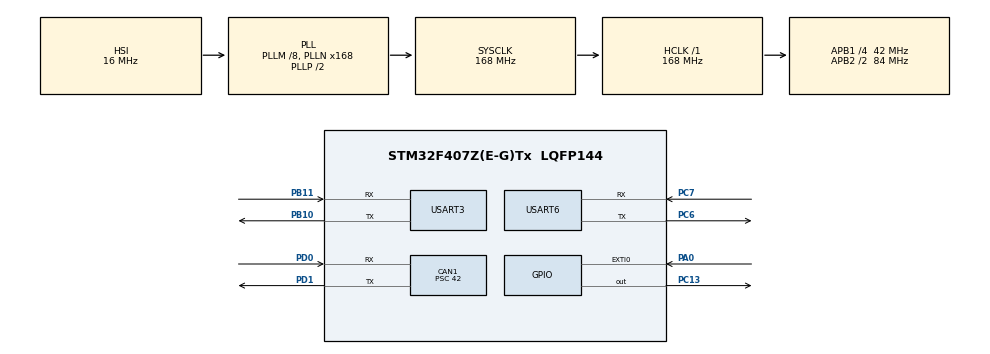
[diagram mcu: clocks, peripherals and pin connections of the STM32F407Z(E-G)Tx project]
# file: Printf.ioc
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Mcu.Family=STM32F4
PH0-OSC_IN.Signal=RCC_OSC_IN
RCC.CortexFreq_Value=168000000
PB10.Mode=Asynchronous
PC6.Signal=USART6_TX
PD1.Signal=CAN1_TX
RCC.APB1CLKDivider=RCC_HCLK_DIV4
PB11.Signal=USART3_RX
RCC.SYSCLKSource=RCC_SYSCLKSOURCE_PLLCLK
ProjectManager.StackSize=0x400
PA0-WKUP.Signal=GPXTI0
PA13.Signal=SYS_JTMS-SWDIO
CAN1.BS2=CAN_BS2_2TQ
PB11.Mode=Asynchronous
CAN1.BS1=CAN_BS1_13TQ
ProjectManager.TargetToolchain=Makefile
PC6.Mode=Asynchronous
RCC.HCLKFreq_Value=168000000
RCC.APB2TimFreq_Value=168000000
PC7.Signal=USART6_RX
PD0.Signal=CAN1_RX
RCC.LSE_VALUE=32768
RCC.AHBFreq_Value=168000000
PH0-OSC_IN.Mode=HSE-External-Oscillator
PB10.Signal=USART3_TX
RCC.HSE_VALUE=25000000
PB3.Mode=Trace_Asynchronous_SW
board=custom
PC13-ANTI_TAMP.Signal=GPIO_Output
RCC.VCOOutputFreq_Value=336000000
PD1.Mode=Master
RCC.APB2Freq_Value=84000000
PA14.Mode=Trace_Asynchronous_SW
VP_SYS_VS_tim1.Mode=TIM1
PH1-OSC_OUT.Signal=RCC_OSC_OUT
PA13.Mode=Trace_Asynchronous_SW
Mcu.Name=STM32F407Z(E-G)Tx
PD0.Mode=Master
PH1-OSC_OUT.Mode=HSE-External-Oscillator
RCC.48MHZClocksFreq_Value=84000000
PB3.Signal=SYS_JTDO-SWO
RCC.SYSCLKFreq_VALUE=168000000
CAN1.Prescaler=42
Mcu.Package=LQFP144
NVIC.TimeBase=TIM1_UP_TIM10_IRQn
USART3.VirtualMode=VM_ASYNC
USART6.VirtualMode=VM_ASYNC
NVIC.TimeBaseIP=TIM1
PA14.Signal=SYS_JTCK-SWCLK
ProjectManager.HeapSize=0x200
NVIC.TIM1_UP_TIM10_IRQn=true\:0\:0\:false\:false\:true\:false\:true
RCC.HSI_VALUE=16000000
NVIC.PriorityGroup=NVIC_PRIORITYGROUP_4
RCC.APB2CLKDivider=RCC_HCLK_DIV2
RCC.PLLM=8
RCC.PLLN=168
RCC.APB1TimFreq_Value=84000000
PC7.Mode=Asynchronous
RCC.APB1Freq_Value=42000000
NVIC.CAN1_RX0_IRQn=true\:0\:0\:false\:false\:true\:true\:true
CAN1.CalculateTimeQuantum=1000.0

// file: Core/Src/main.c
/* USER CODE BEGIN Header */
/**
  ******************************************************************************
  * @file           : main.c
  * @brief          : Main program body
  ******************************************************************************
  * @attention
  *
  * <h2><center>&copy; Copyright (c) 2020 STMicroelectronics.
  * All rights reserved.</center></h2>
  *
  *
  * This software component is licensed by ST under BSD 3-Clause license,
  * the "License"; You may not use this file except in compliance with the
  * License. You may obtain a copy of the License at:
  *                        opensource.org/licenses/BSD-3-Clause
  *
  ******************************************************************************
  */
#include <stdio.h>
/* USER CODE END Header */
#include "main.h"

/* USER CODE BEGIN Includes */
#include "retarget.h"

#include "CAN_utils.h"

/* USER CODE END Includes */

CAN_HandleTypeDef hcan1;

UART_HandleTypeDef huart3;
UART_HandleTypeDef huart6;

/* USER CODE BEGIN PV */
CAN_HandleTypeDef hcan1;

CAN_TxHeaderTypeDef txHeader; //declare a specific header for message transmittions
CAN_RxHeaderTypeDef rxHeader; //declare header for message reception
uint32_t TxMailbox, len;
//uint8_t a,r, arr[12]; //declare byte to be transmitted //declare a receive byte

circularByteBuffer_t cb_han;

CAN_FilterTypeDef sFilterConfig; //declare CAN filter structure
uint8_t arr[16];

void CAN1_RX_Config(void);
//void HAL_CAN_RxFifo0MsgPendingCallback(CAN_HandleTypeDef *hcan);
void CAN1_TX_Config(void);
void CAN1_RX_polling(void);
//int CAN1_TX(void);
/* USER CODE END PV */

void SystemClock_Config(void);
static void MX_GPIO_Init(void);
static void MX_USART3_UART_Init(void);
static void MX_USART6_UART_Init(void);
static void MX_CAN1_Init(void);

int main(void)
{
  /* USER CODE BEGIN 1 */
	int count = 0, i=0;

	circularByteBuffer_Init(&cb_han);
	//char buf[100];
  /* USER CODE END 1 */

  /* MCU Configuration--------------------------------------------------------*/

  /* Reset of all peripherals, Initializes the Flash interface and the Systick. */
  HAL_Init();

  /* Configure the system clock */
  SystemClock_Config();

  /* Initialize all configured peripherals */
  MX_GPIO_Init();
  MX_USART3_UART_Init();
  MX_USART6_UART_Init();
  MX_CAN1_Init();
  /* USER CODE BEGIN 2 */
  RetargetInit(&huart3);

  /* USER CODE END 2 */

  /* Infinite loop */
  /* USER CODE BEGIN WHILE */
  while (1)
  {
	  //printf("\n\r UART3 Printf prints to UART %d \n\r", count++);
	  HAL_Delay(500);

	  if (CAN1_TX() != HAL_OK)
	  {
		  printf("\n\r CAN1_TX() failed \n\r");
	  }
    /* USER CODE END WHILE */

    /* USER CODE BEGIN 3 */
	  printf("\n\r %d UART3 retarget printf function to the terminal\n\r", count++);
	/* Read circular buffer if it has received any frames */
	  len = cb_read_CAN_frame(arr);
	  if (len > 0)
	  {
	  /* print received data */
	  		for (i=0; i< rxHeader.DLC; i++) {
	  			printf("Data[%d]=0x%x ", i, (int)arr[i]);
	  		}

	  		printf("\n\r");
	  }
  }
  /* USER CODE END 3 */
}

void SystemClock_Config(void)
{
  RCC_OscInitTypeDef RCC_OscInitStruct = {0};
  RCC_ClkInitTypeDef RCC_ClkInitStruct = {0};

  /** Configure the main internal regulator output voltage
  */
  __HAL_RCC_PWR_CLK_ENABLE();
  __HAL_PWR_VOLTAGESCALING_CONFIG(PWR_REGULATOR_VOLTAGE_SCALE1);
  /** Initializes the RCC Oscillators according to the specified parameters
  * in the RCC_OscInitTypeDef structure.
  */
  RCC_OscInitStruct.OscillatorType = RCC_OSCILLATORTYPE_HSI;
  RCC_OscInitStruct.HSIState = RCC_HSI_ON;
  RCC_OscInitStruct.HSICalibrationValue = RCC_HSICALIBRATION_DEFAULT;
  RCC_OscInitStruct.PLL.PLLState = RCC_PLL_ON;
  RCC_OscInitStruct.PLL.PLLSource = RCC_PLLSOURCE_HSI;
  RCC_OscInitStruct.PLL.PLLM = 8;
  RCC_OscInitStruct.PLL.PLLN = 168;
  RCC_OscInitStruct.PLL.PLLP = RCC_PLLP_DIV2;
  RCC_OscInitStruct.PLL.PLLQ = 4;
  if (HAL_RCC_OscConfig(&RCC_OscInitStruct) != HAL_OK)
  {
    Error_Handler();
  }
  /** Initializes the CPU, AHB and APB buses clocks
  */
  RCC_ClkInitStruct.ClockType = RCC_CLOCKTYPE_HCLK|RCC_CLOCKTYPE_SYSCLK
                              |RCC_CLOCKTYPE_PCLK1|RCC_CLOCKTYPE_PCLK2;
  RCC_ClkInitStruct.SYSCLKSource = RCC_SYSCLKSOURCE_PLLCLK;
  RCC_ClkInitStruct.AHBCLKDivider = RCC_SYSCLK_DIV1;
  RCC_ClkInitStruct.APB1CLKDivider = RCC_HCLK_DIV4;
  RCC_ClkInitStruct.APB2CLKDivider = RCC_HCLK_DIV2;

  if (HAL_RCC_ClockConfig(&RCC_ClkInitStruct, FLASH_LATENCY_5) != HAL_OK)
  {
    Error_Handler();
  }
}

static void MX_CAN1_Init(void)
{

  hcan1.Instance = CAN1;
  hcan1.Init.Prescaler = 12;
  hcan1.Init.Mode = CAN_MODE_NORMAL;
  hcan1.Init.SyncJumpWidth = CAN_SJW_1TQ;
  hcan1.Init.TimeSeg1 = CAN_BS1_11TQ;
  hcan1.Init.TimeSeg2 = CAN_BS2_2TQ;
  hcan1.Init.TimeTriggeredMode = DISABLE;
  hcan1.Init.AutoBusOff = DISABLE;
  hcan1.Init.AutoWakeUp = DISABLE;
  hcan1.Init.AutoRetransmission = DISABLE;
  hcan1.Init.ReceiveFifoLocked = DISABLE;
  hcan1.Init.TransmitFifoPriority = DISABLE;
  if (HAL_CAN_Init(&hcan1) != HAL_OK)
  {
    Error_Handler();
  }
  /* USER CODE BEGIN CAN1_Init 2 */
  CAN1_TX_Config();
  CAN1_RX_Config();

  /* USER CODE END CAN1_Init 2 */

}

static void MX_USART3_UART_Init(void)
{

  huart3.Instance = USART3;
  huart3.Init.BaudRate = 115200;
  huart3.Init.WordLength = UART_WORDLENGTH_8B;
  huart3.Init.StopBits = UART_STOPBITS_1;
  huart3.Init.Parity = UART_PARITY_NONE;
  huart3.Init.Mode = UART_MODE_TX_RX;
  huart3.Init.HwFlowCtl = UART_HWCONTROL_NONE;
  huart3.Init.OverSampling = UART_OVERSAMPLING_16;
  if (HAL_UART_Init(&huart3) != HAL_OK)
  {
    Error_Handler();
  }
  /* USER CODE BEGIN USART3_Init 2 */
  //printf("\n\r UART3 Printf Example: retarget the C library printf function to the UART\n\r");
  /* USER CODE END USART3_Init 2 */

}

static void MX_USART6_UART_Init(void)
{

  huart6.Instance = USART6;
  huart6.Init.BaudRate = 115200;
  huart6.Init.WordLength = UART_WORDLENGTH_8B;
  huart6.Init.StopBits = UART_STOPBITS_1;
  huart6.Init.Parity = UART_PARITY_NONE;
  huart6.Init.Mode = UART_MODE_TX_RX;
  huart6.Init.HwFlowCtl = UART_HWCONTROL_NONE;
  huart6.Init.OverSampling = UART_OVERSAMPLING_16;
  if (HAL_UART_Init(&huart6) != HAL_OK)
  {
    Error_Handler();
  }

}

static void MX_GPIO_Init(void)
{
  GPIO_InitTypeDef GPIO_InitStruct = {0};

  /* GPIO Ports Clock Enable */
  __HAL_RCC_GPIOC_CLK_ENABLE();
  __HAL_RCC_GPIOH_CLK_ENABLE();
  __HAL_RCC_GPIOA_CLK_ENABLE();
  __HAL_RCC_GPIOB_CLK_ENABLE();
  __HAL_RCC_GPIOD_CLK_ENABLE();

  /*Configure GPIO pin Output Level */
  HAL_GPIO_WritePin(GPIOC, GPIO_PIN_13, GPIO_PIN_RESET);

  /*Configure GPIO pin : PC13 */
  GPIO_InitStruct.Pin = GPIO_PIN_13;
  GPIO_InitStruct.Mode = GPIO_MODE_OUTPUT_PP;
  GPIO_InitStruct.Pull = GPIO_NOPULL;
  GPIO_InitStruct.Speed = GPIO_SPEED_FREQ_LOW;
  HAL_GPIO_Init(GPIOC, &GPIO_InitStruct);

  /*Configure GPIO pin : PA0 */
  GPIO_InitStruct.Pin = GPIO_PIN_0;
  GPIO_InitStruct.Mode = GPIO_MODE_IT_RISING;
  GPIO_InitStruct.Pull = GPIO_NOPULL;
  HAL_GPIO_Init(GPIOA, &GPIO_InitStruct);

}

/* USER CODE BEGIN 4 */

void CAN1_TX_Config(void)
{
	txHeader.DLC=8;  			// give message size of 8 byte FOR NOW
	txHeader.IDE=CAN_ID_STD; 	//set identifier to standard
	txHeader.RTR=CAN_RTR_DATA; 	//set data type to remote transmission request?
	txHeader.StdId=0x123; 		//define a standard identifier, used for message identification by filters (switch this for the other microcontroller)

	txHeader.ExtId = 0x00;
	txHeader.TransmitGlobalTime = DISABLE;
	printf("\n\rCAN1_TX_Config() Passed \n\r");

}

void CAN1_RX_polling(void)
{
	uint8_t rxData[8];
	int len,i;

//	while (HAL_CAN_GetRxFifoFillLevel(&hcan1,CAN_RX_FIFO0) != HAL_OK);
//	printf("HAL_CAN_GetRxFifoFillLevel() Passed \n");

	if (HAL_CAN_GetRxMessage(&hcan1,CAN_RX_FIFO0, &rxHeader, rxData) != HAL_OK) {
		printf("\n\rHAL_CAN_GetRxMessage() Failed \n\r");
			Error_Handler();

	}

	 printf("\n\rHAL_CAN_GetRxMessage() Passed %s\n\r", rxData);

	if (rxHeader.IDE == CAN_ID_STD)
	{
		len = (int)(rxHeader.DLC);
		printf("\n\rID = %d RdDataLength %d \n\r", (int)rxHeader.StdId, len);

		/* Store in the circular buffer */
		for (i=0; i< rxHeader.DLC; i++) {
			printf("Data[%d]=0x%x ", i, (int)rxData[i]);
		}

		printf("\n\r");
	}

}

void CAN1_RX_Config(void)
{
		//filter one (stack light blink)
	sFilterConfig.FilterBank = 0;
	sFilterConfig.FilterFIFOAssignment=CAN_FILTER_FIFO0; //set fifo assignment
	sFilterConfig.FilterIdHigh=0x0;      //245<<5; //the ID that the filter looks for (switch this for the other microcontroller)
	sFilterConfig.FilterIdLow=0x0;
	sFilterConfig.FilterMaskIdHigh=0x0;
	sFilterConfig.FilterMaskIdLow=0x0;
	sFilterConfig.FilterScale=CAN_FILTERSCALE_32BIT; //set filter scale
	sFilterConfig.FilterMode = CAN_FILTERMODE_IDMASK;
	sFilterConfig.FilterActivation=ENABLE;

	if (HAL_CAN_ConfigFilter(&hcan1, &sFilterConfig) != HAL_OK) //configure CAN filter
	{
		printf("\n\rHAL_CAN_ConfigFilter() failed \n\r");
		 Error_Handler();
	}
	printf("\n\rHAL_CAN_ConfigFilter() passed \n\r");

	HAL_CAN_Start(&hcan1); //start CAN
	printf("HAL_CAN_Start() passed \n\r");

	HAL_CAN_ActivateNotification(&hcan1, CAN_IT_RX_FIFO0_MSG_PENDING); //enable interrupts
	printf("\n\rHAL_CAN_ActivateNotification() passed \n\r");
}

void HAL_CAN_RxFifo0MsgPendingCallback(CAN_HandleTypeDef *hcan)
{
	CAN_RxHeaderTypeDef rxHeader;
	uint8_t rcvd_msg[8];
	//uint8_t arr_val [8];
	//int len;
	int i = 0;

	HAL_CAN_ActivateNotification(&hcan1,CAN_IT_RX_FIFO0_MSG_PENDING);
	printf("\n\rHAL_CAN_RxFifo0MsgPendingCallback() entered \n\r");
	if (HAL_CAN_GetRxMessage(&hcan1, CAN_RX_FIFO0, &rxHeader,rcvd_msg) != HAL_OK)
	{
		printf("\n\rHAL_CAN_RxFifo Callback - HAL_CAN_GetRxMessage() Failed\n\r");
		//ISR_Error_Handler();
	}

	if ((rxHeader.IDE == CAN_ID_STD) ) // && (rxHeader.StdId == 0x321))
	{
		//len = (int)(rxHeader.DLC);
		printf("\n\r ID = 0x%x RdDataLength %d \n\r", (int)rxHeader.StdId, (int)(rxHeader.DLC));

	/* print received data */
		for (i=0; i< rxHeader.DLC; i++) {
			printf("Data[%d]=0x%x ", i, (int)rcvd_msg[i]);
		}

		printf("\n\r");
	}

	EnqueueFrame(rxHeader.StdId, rxHeader.DLC, rcvd_msg);

#if 0
	HAL_GPIO_TogglePin(LED_GPIO_Port, LED_Pin);
#endif
}

/* USER CODE END 4 */

void HAL_TIM_PeriodElapsedCallback(TIM_HandleTypeDef *htim)
{
  if (htim->Instance == TIM1) {
    HAL_IncTick();
  }
}

void Error_Handler(void)
{
}

/************************ (C) COPYRIGHT STMicroelectronics *****END OF FILE****/
